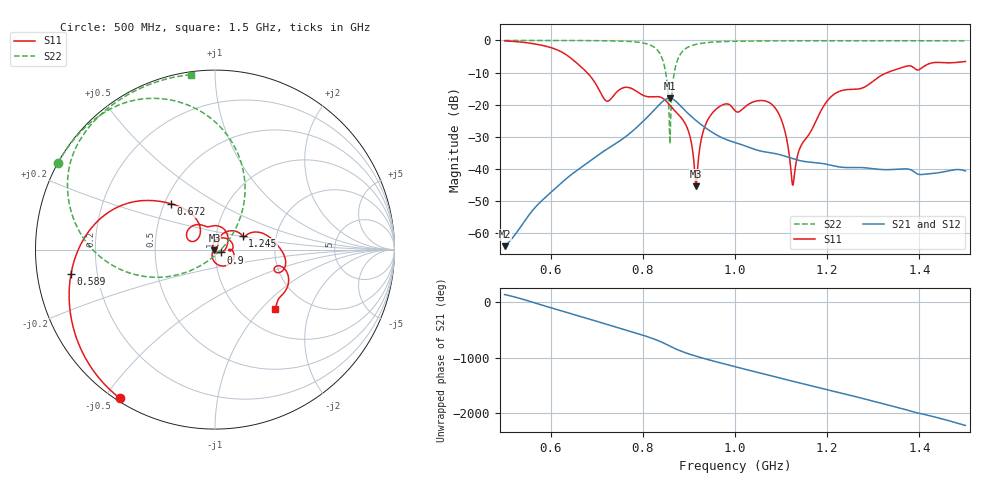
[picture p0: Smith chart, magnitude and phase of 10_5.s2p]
! TOUCHSTONE file generated by CST MICROWAVE STUDIO
! Date and time: Fri Oct  2 19:09:28 2020
! Project name: Scenario_1_Free_Space_out_of_line.cst
! Parameters = {Lambda=346.42; Step_1=17.321; dy1=191.571; dx1=866; L_HA=400; MT=2.54; Rad_Dielectric=30; Rad_Lower=7.3; Rad_Upper=30; a_HA=580; a_WG=246; b_HA=500; b_WG=121; c_HA=0; c_WG=187; d_feed=85; h_feed=15; h_lower=18; h_upper=40}
! Header version: 2018
! Port assignment regex: !\s*Touchstone port\s*([0-9]+)\s*=\s*(CST MWS port|CST DS port)\s*([0-9]+|Zmin|Zmax)\s*\(\"(.*)\"\)(\s*mode\s*([0-9]+))?.*
! Touchstone port assignment:
! Touchstone port 1 = CST MWS port 1 ("")
! Touchstone port 2 = CST MWS port 2 ("")
# GHz S DB R 50
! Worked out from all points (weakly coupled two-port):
!   1003 points, 500 MHz to 1.5 GHz, reference 50 ohm
!   highest |S21| = -17.99 dB at 858 MHz (marker M1); lowest = -64.1 dB at 500 MHz (marker M2)
!   lowest |S11| = -45.4 dB at 915 MHz (marker M3), VSWR 1.01, Z = 49.7 - j0.42 ohm
!   |S11| at or under -10 dB: 678.8 MHz to 1.331 GHz (652 MHz wide, 64.9 % of centre)
!   |S22| runs from -32.2 to 0.0 dB; largest |S21 - S12| = 0.00041
!   S11 on the Smith chart (normalised r, x): 500 MHz: 0.01, -0.55; 589 MHz: 0.10, -0.08; 672 MHz: 0.54, +0.32; 900 MHz: 1.07, -0.03; 1.245 GHz: 1.35, +0.21; 1.5 GHz: 1.42, -1.20
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0.5  -0.15 -122.6  -64.14 138.0  -64.14 138.0  -0.01 151.1
0.589  -1.79 -170.3  -48.85 -72.6  -48.89 -72.4  -0.02 144.9
0.667  -8.37 136.4  -39.48 96.7  -39.48 96.7  -0.04 138.3
0.672  -9.04 133.7  -38.97 84.5  -38.97 84.5  -0.05 137.8
0.721  -18.90 141.4  -33.98 -36.4  -33.98 -36.4  -0.11 132.1
0.79  -16.21 117.9  -26.66 154.0  -26.66 154.0  -0.55 116.9
0.834  -17.54 83.1  -20.29 26.2  -20.29 26.2  -3.44 86.5
0.848  -18.56 59.0  -18.47 -25.4  -18.47 -25.4  -8.76 62.7
0.858  -20.09 43.3  -17.99 -66.6  -17.99 -66.6  -28.56 6.5
0.874  -22.60 22.1  -19.28 -129.9  -19.28 -129.9  -6.62 -162.6
0.9  -28.77 -25.6  -23.01 149.7  -23.01 149.7  -1.94 168.5
0.915  -45.42 -127.9  -24.91 110.5  -24.91 110.5  -1.23 160.3
0.944  -23.99 74.1  -28.03 41.7  -28.03 41.7  -0.61 150.6
1  -21.88 -5.2  -31.83 -78.3  -31.83 -78.2  -0.26 140.3
1.085  -20.67 -73.2  -35.21 102.9  -35.16 102.7  -0.13 131.1
1.107  -27.59 -112.3  -36.01 55.6  -35.93 55.2  -0.12 129.1
1.126  -45.01 129.3  -36.89 16.4  -36.87 16.4  -0.11 127.5
1.167  -27.71 65.5  -38.01 -65.0  -38.01 -65.0  -0.09 124.2
1.204  -18.20 55.7  -38.76 -142.6  -38.76 -142.6  -0.09 121.3
1.245  -15.30 26.2  -39.63 135.9  -39.63 135.9  -0.08 118.2
1.334  -9.82 10.2  -40.28 -51.5  -40.28 -51.5  -0.09 111.5
1.5  -6.56 -44.3  -40.69 -57.1  -40.70 -57.1  -0.14 97.9
